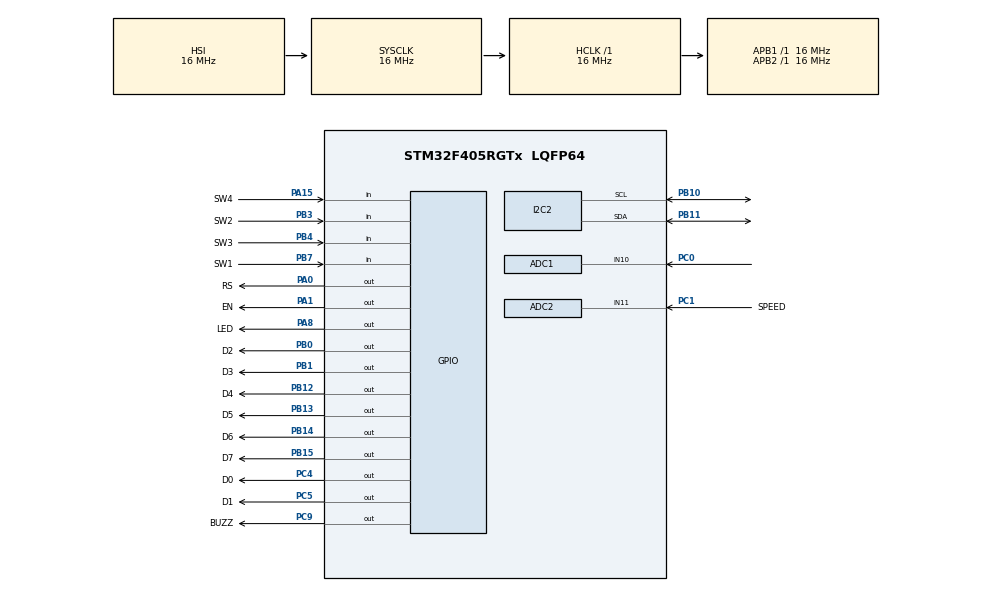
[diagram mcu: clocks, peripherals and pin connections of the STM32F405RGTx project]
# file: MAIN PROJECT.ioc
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ADC1.Channel-2\#ChannelRegularConversion=ADC_CHANNEL_10
ADC1.NbrOfConversionFlag=1
ADC1.Rank-2\#ChannelRegularConversion=1
ADC1.SamplingTime-2\#ChannelRegularConversion=ADC_SAMPLETIME_3CYCLES
ADC1.master=1
ADC2.Channel-0\#ChannelRegularConversion=ADC_CHANNEL_11
ADC2.NbrOfConversionFlag=1
ADC2.Rank-0\#ChannelRegularConversion=1
ADC2.SamplingTime-0\#ChannelRegularConversion=ADC_SAMPLETIME_3CYCLES
I2C2.I2C_Mode=I2C_Fast
Mcu.Family=STM32F4
Mcu.Name=STM32F405RGTx
Mcu.Package=LQFP64
NVIC.ADC_IRQn=true\:0\:0\:false\:false\:true\:true\:true\:true
NVIC.PriorityGroup=NVIC_PRIORITYGROUP_4
PA0-WKUP.GPIO_Label=RS
PA0-WKUP.Signal=GPIO_Output
PA1.GPIO_Label=EN
PA1.Signal=GPIO_Output
PA13.Mode=Serial_Wire
PA13.Signal=SYS_JTMS-SWDIO
PA14.Mode=Serial_Wire
PA14.Signal=SYS_JTCK-SWCLK
PA15.GPIO_Label=SW4
PA15.Signal=GPIO_Input
PA8.GPIO_Label=LED
PA8.Signal=GPIO_Output
PB0.GPIO_Label=D2
PB0.Signal=GPIO_Output
PB1.GPIO_Label=D3
PB1.Signal=GPIO_Output
PB10.Mode=I2C
PB10.Signal=I2C2_SCL
PB11.Mode=I2C
PB11.Signal=I2C2_SDA
PB12.GPIO_Label=D4
PB12.Signal=GPIO_Output
PB13.GPIO_Label=D5
PB13.Signal=GPIO_Output
PB14.GPIO_Label=D6
PB14.Signal=GPIO_Output
PB15.GPIO_Label=D7
PB15.Signal=GPIO_Output
PB3.GPIO_Label=SW2
PB3.Signal=GPIO_Input
PB4.GPIO_Label=SW3
PB4.Signal=GPIO_Input
PB7.GPIO_Label=SW1
PB7.Signal=GPIO_Input
PC0.Signal=ADCx_IN10
PC1.GPIO_Label=SPEED
PC1.Signal=ADCx_IN11
PC14-OSC32_IN.Mode=LSE-External-Oscillator
PC14-OSC32_IN.Signal=RCC_OSC32_IN
PC15-OSC32_OUT.Mode=LSE-External-Oscillator
PC15-OSC32_OUT.Signal=RCC_OSC32_OUT
PC4.GPIO_Label=D0
PC4.Signal=GPIO_Output
PC5.GPIO_Label=D1
PC5.Signal=GPIO_Output
PC9.GPIO_Label=BUZZ
PC9.Signal=GPIO_Output
PH0-OSC_IN.Mode=HSE-External-Oscillator
PH0-OSC_IN.Signal=RCC_OSC_IN
PH1-OSC_OUT.Mode=HSE-External-Oscillator
PH1-OSC_OUT.Signal=RCC_OSC_OUT
ProjectManager.HeapSize=0x200
ProjectManager.StackSize=0x400
ProjectManager.TargetToolchain=STM32CubeIDE
RCC.AHBFreq_Value=16000000
RCC.APB1Freq_Value=16000000
RCC.APB2Freq_Value=16000000
RCC.CortexFreq_Value=16000000
RCC.HSE_VALUE=25000000
RCC.HSI_VALUE=16000000
RCC.SYSCLKFreq_VALUE=16000000
RCC.VCOOutputFreq_Value=192000000
SH.ADCx_IN10.0=ADC1_IN10,IN10
SH.ADCx_IN11.0=ADC2_IN11,IN11
board=custom

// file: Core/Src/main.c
/* USER CODE BEGIN Header */
/**
  ******************************************************************************
  * @file           : main.c
  * @brief          : Main program body
  ******************************************************************************
  * @attention
  *
  * Copyright (c) 2024 STMicroelectronics.
  * All rights reserved.
  *
  * This software is licensed under terms that can be found in the LICENSE file
  * in the root directory of this software component.
  * If no LICENSE file comes with this software, it is provided AS-IS.
  *
  ******************************************************************************
  */
/* USER CODE END Header */
#include "main.h"

/* USER CODE BEGIN Includes */
#include "LCD.h"
#include "fonts.h"
#include "ssd1306.h"
#include "stdio.h"
/* USER CODE END Includes */

 ADC_HandleTypeDef hadc1;
ADC_HandleTypeDef hadc2;

I2C_HandleTypeDef hi2c2;

void SystemClock_Config(void);
static void MX_GPIO_Init(void);
static void MX_ADC1_Init(void);
static void MX_ADC2_Init(void);
static void MX_I2C2_Init(void);
/* USER CODE BEGIN PFP */
void SSD1306_DrawBitmap(int16_t x, int16_t y, const unsigned char* bitmap, int16_t w, int16_t h, uint16_t color);
/* USER CODE END PFP */

int main(void)
{

  /* MCU Configuration--------------------------------------------------------*/

  /* Reset of all peripherals, Initializes the Flash interface and the Systick. */
  HAL_Init();

  /* Configure the system clock */
  SystemClock_Config();

  /* Initialize all configured peripherals */
  MX_GPIO_Init();
  MX_ADC1_Init();
  MX_ADC2_Init();
  MX_I2C2_Init();
  /* USER CODE BEGIN 2 */
  LCDinit();
  unsigned int read1;
  unsigned int read2;
  unsigned int f;
  uint16_t adcValue;
  char displayString[20];
  int switchstate=0;
  int state=0;
  int flag=0;
  SSD1306_Init();
  cmd(0x80);
  input("WELCOME");
  HAL_Delay(1000);
  cmd(0x01);
  HAL_GPIO_WritePin(GPIOA,LED_Pin,1);
  cmd(0x80);
  input("SEATBELT UNLOCK");
  /* USER CODE END 2 */

  /* Infinite loop */
  /* USER CODE BEGIN WHILE */
  while (1)
  {

	  /* Seat Belt*/

	  if(HAL_GPIO_ReadPin(GPIOB,SW1_Pin)==0)
	  {
		          cmd(0x01);
	 		      HAL_GPIO_WritePin(GPIOA,LED_Pin,0);
	 		      cmd(0x80);
	 		      input("SEATBELT LOCK");
	 		      HAL_Delay(2000);
	 		      cmd(0x01 );
	  }

     /* Temperature Sensor*/
	  if(HAL_GPIO_ReadPin(GPIOB,SW2_Pin)==0)
	  {
		  switchstate= 1;

	 }

	  /*Speed control*/
	      if(switchstate==1)
	      {
	    	                      HAL_ADC_Start(&hadc1);
	    	  	  	    	 	  HAL_ADC_PollForConversion(&hadc1,500);
	    	  	  	    	 	  read1=HAL_ADC_GetValue(&hadc1);
	    	  	  	    	 	  HAL_ADC_Stop(&hadc1);
	    	  	  	    	 	  read2= (5.0 * read1* 1000.0) / 65536;
	    	  	  	    	 	  read2=100-read2;
	    	  	  	    	      cmd(0x80);
	    	  	  	    	      input("ENGG TEMP:");
	    	  	  	    	      Numericdata(read2);
	    	  	  	    	 	  input("C");
	    	  	  	    	 	  if(read2>55)
	    	  	  	    	 	  {
	    	  	  	    	 		  cmd(0xC0);
	    	  	  	    	 		input("OVER TEMPERATURE");
	    	  	  	    	 	  }
	    	  	  	    	 	 if(read2<55)
	    	  	  	    	 		    	 	  {
	    	  	  	    	 		    	 		  cmd(0xC0);
	    	  	  	    	 		    	 		input("NORMAL TEMP");
	    	  	  	    	 		    	 	  }
	    	  f=0;
	    	  	  	  	  HAL_ADC_Start(&hadc2);
	    	  	  	  	  HAL_ADC_PollForConversion(&hadc2,500);
	    	  	  	  	  adcValue=HAL_ADC_GetValue(&hadc2);
	    	  	  	  	  HAL_ADC_Stop(&hadc2);
	    	  	  	  	  // Convert ADC value to string
	    	  	  	  	  sprintf(displayString, "SPEED:%dKPH", (adcValue/41));
	    	  	             // Display the string on the OLED display
	    	  	  	  	   // SSD1306_Clear()
	    	  	              SSD1306_GotoXY(0, 0);
	    	  	  	  	    SSD1306_Puts(displayString, &Font_11x18, 1);
	    	  	  	  	    SSD1306_UpdateScreen();
	    	  	  	  	    if((adcValue/41)>50)
	    	  	  	  	    {
	    	  	  	  	    	f=1;
	    	  	  	  	    }
	    	  	  	  	    if(f==1)
	    	  	  	  	    {
	    	  	  	  	    	SSD1306_GotoXY(0,20);
	    	  	  	  	    	SSD1306_Puts("OVER SPEED!!!", &Font_11x18, 1);
	    	  	  	  	        HAL_Delay(1000);
	    	  	  	  	        HAL_GPIO_WritePin(GPIOC, BUZZ_Pin,1);
	    	  	  	  	        HAL_Delay(1000);
	    	  	  	  	    }
	    	  	  	  	    else if(f==0)
	    	  	  	  	    {
	    	  	  	  	        HAL_GPIO_WritePin(GPIOC, BUZZ_Pin,0);
	    	  	  	  	 	    HAL_Delay(1000);
	    	  	  	  	    	SSD1306_GotoXY(0,20);
	    	  	  	  	    	SSD1306_Puts("             ", &Font_11x18, 1);

	    	  	  	  	    }
	    	  	  	  	    SSD1306_UpdateScreen();

	    	  	  	  	    HAL_Delay(1000);

	      }
	      if(HAL_GPIO_ReadPin(GPIOA,SW4_Pin)==0)
	      {
	    	 flag=1;
	      }

	      if(flag==1)
	      {
	    	  cmd(0x01);
	    	  cmd(0x80);
	    	  input("ENGINE OFF!!");
	    	  HAL_Delay(15000);

	      }
    /* USER CODE END WHILE */

  }
}

void SystemClock_Config(void)
{
  RCC_OscInitTypeDef RCC_OscInitStruct = {0};
  RCC_ClkInitTypeDef RCC_ClkInitStruct = {0};

  /** Configure the main internal regulator output voltage
  */
  __HAL_RCC_PWR_CLK_ENABLE();
  __HAL_PWR_VOLTAGESCALING_CONFIG(PWR_REGULATOR_VOLTAGE_SCALE1);

  /** Initializes the RCC Oscillators according to the specified parameters
  * in the RCC_OscInitTypeDef structure.
  */
  RCC_OscInitStruct.OscillatorType = RCC_OSCILLATORTYPE_HSI;
  RCC_OscInitStruct.HSIState = RCC_HSI_ON;
  RCC_OscInitStruct.HSICalibrationValue = RCC_HSICALIBRATION_DEFAULT;
  RCC_OscInitStruct.PLL.PLLState = RCC_PLL_NONE;
  if (HAL_RCC_OscConfig(&RCC_OscInitStruct) != HAL_OK)
  {
    Error_Handler();
  }

  /** Initializes the CPU, AHB and APB buses clocks
  */
  RCC_ClkInitStruct.ClockType = RCC_CLOCKTYPE_HCLK|RCC_CLOCKTYPE_SYSCLK
                              |RCC_CLOCKTYPE_PCLK1|RCC_CLOCKTYPE_PCLK2;
  RCC_ClkInitStruct.SYSCLKSource = RCC_SYSCLKSOURCE_HSI;
  RCC_ClkInitStruct.AHBCLKDivider = RCC_SYSCLK_DIV1;
  RCC_ClkInitStruct.APB1CLKDivider = RCC_HCLK_DIV1;
  RCC_ClkInitStruct.APB2CLKDivider = RCC_HCLK_DIV1;

  if (HAL_RCC_ClockConfig(&RCC_ClkInitStruct, FLASH_LATENCY_0) != HAL_OK)
  {
    Error_Handler();
  }
}

static void MX_ADC1_Init(void)
{

  ADC_ChannelConfTypeDef sConfig = {0};

  /** Configure the global features of the ADC (Clock, Resolution, Data Alignment and number of conversion)
  */
  hadc1.Instance = ADC1;
  hadc1.Init.ClockPrescaler = ADC_CLOCK_SYNC_PCLK_DIV2;
  hadc1.Init.Resolution = ADC_RESOLUTION_12B;
  hadc1.Init.ScanConvMode = DISABLE;
  hadc1.Init.ContinuousConvMode = DISABLE;
  hadc1.Init.DiscontinuousConvMode = DISABLE;
  hadc1.Init.ExternalTrigConvEdge = ADC_EXTERNALTRIGCONVEDGE_NONE;
  hadc1.Init.ExternalTrigConv = ADC_SOFTWARE_START;
  hadc1.Init.DataAlign = ADC_DATAALIGN_RIGHT;
  hadc1.Init.NbrOfConversion = 1;
  hadc1.Init.DMAContinuousRequests = DISABLE;
  hadc1.Init.EOCSelection = ADC_EOC_SINGLE_CONV;
  if (HAL_ADC_Init(&hadc1) != HAL_OK)
  {
    Error_Handler();
  }

  /** Configure for the selected ADC regular channel its corresponding rank in the sequencer and its sample time.
  */
  sConfig.Channel = ADC_CHANNEL_10;
  sConfig.Rank = 1;
  sConfig.SamplingTime = ADC_SAMPLETIME_3CYCLES;
  if (HAL_ADC_ConfigChannel(&hadc1, &sConfig) != HAL_OK)
  {
    Error_Handler();
  }

}

static void MX_ADC2_Init(void)
{

  ADC_ChannelConfTypeDef sConfig = {0};

  /** Configure the global features of the ADC (Clock, Resolution, Data Alignment and number of conversion)
  */
  hadc2.Instance = ADC2;
  hadc2.Init.ClockPrescaler = ADC_CLOCK_SYNC_PCLK_DIV2;
  hadc2.Init.Resolution = ADC_RESOLUTION_12B;
  hadc2.Init.ScanConvMode = DISABLE;
  hadc2.Init.ContinuousConvMode = DISABLE;
  hadc2.Init.DiscontinuousConvMode = DISABLE;
  hadc2.Init.ExternalTrigConvEdge = ADC_EXTERNALTRIGCONVEDGE_NONE;
  hadc2.Init.ExternalTrigConv = ADC_SOFTWARE_START;
  hadc2.Init.DataAlign = ADC_DATAALIGN_RIGHT;
  hadc2.Init.NbrOfConversion = 1;
  hadc2.Init.DMAContinuousRequests = DISABLE;
  hadc2.Init.EOCSelection = ADC_EOC_SINGLE_CONV;
  if (HAL_ADC_Init(&hadc2) != HAL_OK)
  {
    Error_Handler();
  }

  /** Configure for the selected ADC regular channel its corresponding rank in the sequencer and its sample time.
  */
  sConfig.Channel = ADC_CHANNEL_11;
  sConfig.Rank = 1;
  sConfig.SamplingTime = ADC_SAMPLETIME_3CYCLES;
  if (HAL_ADC_ConfigChannel(&hadc2, &sConfig) != HAL_OK)
  {
    Error_Handler();
  }

}

static void MX_I2C2_Init(void)
{

  hi2c2.Instance = I2C2;
  hi2c2.Init.ClockSpeed = 400000;
  hi2c2.Init.DutyCycle = I2C_DUTYCYCLE_2;
  hi2c2.Init.OwnAddress1 = 0;
  hi2c2.Init.AddressingMode = I2C_ADDRESSINGMODE_7BIT;
  hi2c2.Init.DualAddressMode = I2C_DUALADDRESS_DISABLE;
  hi2c2.Init.OwnAddress2 = 0;
  hi2c2.Init.GeneralCallMode = I2C_GENERALCALL_DISABLE;
  hi2c2.Init.NoStretchMode = I2C_NOSTRETCH_DISABLE;
  if (HAL_I2C_Init(&hi2c2) != HAL_OK)
  {
    Error_Handler();
  }

}

static void MX_GPIO_Init(void)
{
  GPIO_InitTypeDef GPIO_InitStruct = {0};

  /* GPIO Ports Clock Enable */
  __HAL_RCC_GPIOC_CLK_ENABLE();
  __HAL_RCC_GPIOH_CLK_ENABLE();
  __HAL_RCC_GPIOA_CLK_ENABLE();
  __HAL_RCC_GPIOB_CLK_ENABLE();

  /*Configure GPIO pin Output Level */
  HAL_GPIO_WritePin(GPIOA, RS_Pin|EN_Pin|LED_Pin, GPIO_PIN_RESET);

  /*Configure GPIO pin Output Level */
  HAL_GPIO_WritePin(GPIOC, D0_Pin|D1_Pin|BUZZ_Pin, GPIO_PIN_RESET);

  /*Configure GPIO pin Output Level */
  HAL_GPIO_WritePin(GPIOB, D2_Pin|D3_Pin|D4_Pin|D5_Pin
                          |D6_Pin|D7_Pin, GPIO_PIN_RESET);

  /*Configure GPIO pins : RS_Pin EN_Pin LED_Pin */
  GPIO_InitStruct.Pin = RS_Pin|EN_Pin|LED_Pin;
  GPIO_InitStruct.Mode = GPIO_MODE_OUTPUT_PP;
  GPIO_InitStruct.Pull = GPIO_NOPULL;
  GPIO_InitStruct.Speed = GPIO_SPEED_FREQ_LOW;
  HAL_GPIO_Init(GPIOA, &GPIO_InitStruct);

  /*Configure GPIO pins : D0_Pin D1_Pin BUZZ_Pin */
  GPIO_InitStruct.Pin = D0_Pin|D1_Pin|BUZZ_Pin;
  GPIO_InitStruct.Mode = GPIO_MODE_OUTPUT_PP;
  GPIO_InitStruct.Pull = GPIO_NOPULL;
  GPIO_InitStruct.Speed = GPIO_SPEED_FREQ_LOW;
  HAL_GPIO_Init(GPIOC, &GPIO_InitStruct);

  /*Configure GPIO pins : D2_Pin D3_Pin D4_Pin D5_Pin
                           D6_Pin D7_Pin */
  GPIO_InitStruct.Pin = D2_Pin|D3_Pin|D4_Pin|D5_Pin
                          |D6_Pin|D7_Pin;
  GPIO_InitStruct.Mode = GPIO_MODE_OUTPUT_PP;
  GPIO_InitStruct.Pull = GPIO_NOPULL;
  GPIO_InitStruct.Speed = GPIO_SPEED_FREQ_LOW;
  HAL_GPIO_Init(GPIOB, &GPIO_InitStruct);

  /*Configure GPIO pin : SW4_Pin */
  GPIO_InitStruct.Pin = SW4_Pin;
  GPIO_InitStruct.Mode = GPIO_MODE_INPUT;
  GPIO_InitStruct.Pull = GPIO_NOPULL;
  HAL_GPIO_Init(SW4_GPIO_Port, &GPIO_InitStruct);

  /*Configure GPIO pins : SW2_Pin SW3_Pin SW1_Pin */
  GPIO_InitStruct.Pin = SW2_Pin|SW3_Pin|SW1_Pin;
  GPIO_InitStruct.Mode = GPIO_MODE_INPUT;
  GPIO_InitStruct.Pull = GPIO_NOPULL;
  HAL_GPIO_Init(GPIOB, &GPIO_InitStruct);

}

void Error_Handler(void)
{
  __disable_irq();
  while (1)
  {
  }
}
